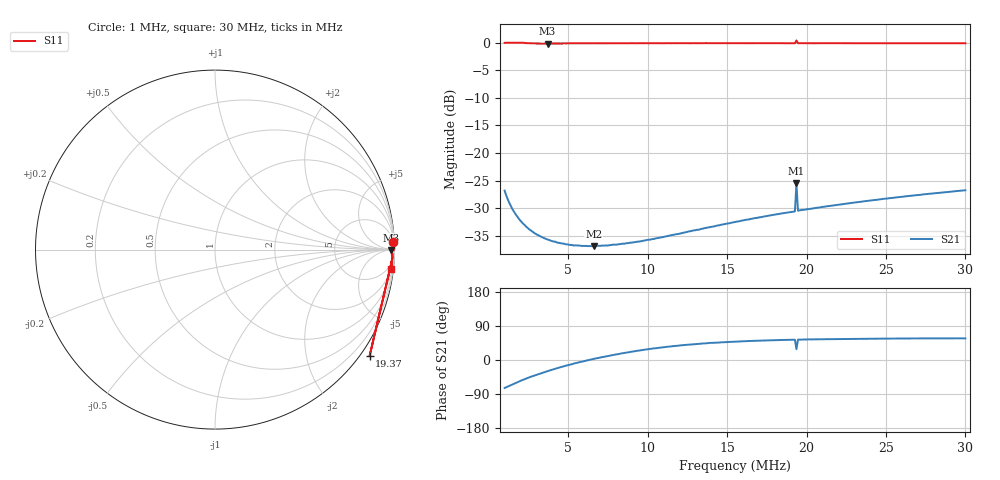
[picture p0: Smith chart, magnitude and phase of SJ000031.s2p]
!File created by NanoVNA-F V2
# Hz S RI R 50
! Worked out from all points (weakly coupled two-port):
!   301 points, 1 MHz to 30 MHz, reference 50 ohm
!   highest |S21| = -25.49 dB at 19.37 MHz (marker M1); lowest = -36.8 dB at 6.607 MHz (marker M2)
!   lowest |S11| = -0.2 dB at 3.707 MHz (marker M3), VSWR 93.32, Z = 4.42e+03 - j1.04e+03 ohm
!   |S11| at or under -10 dB: nowhere
!   S12 and S22 are empty: the file has one direction only
!   S11 on the Smith chart (normalised r, x): 1 MHz: 7, +48; 19.37 MHz: -0.25, -3.20; 30 MHz: 2, -18
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1000000  0.9936 0.0402  0.0128 -0.044  0 0  0 0
1193332  0.9964 0.0338  0.0131 -0.036  0 0  0 0
1483330  0.9975 0.0194  0.0135 -0.0282  0 0  0 0
1676662  0.9995 0.0118  0.0137 -0.0247  0 0  0 0
1966660  0.9999 0.00428  0.014 -0.0204  0 0  0 0
2353324  0.9891 -0.00493  0.0142 -0.0163  0 0  0 0
2836654  0.9842 -0.00855  0.0143 -0.0126  0 0  0 0
3223318  0.9794 -0.00567  0.0144 -0.0104  0 0  0 0
3706648  0.9788 -0.00495  0.0144 -0.00801  0 0  0 0
4286644  0.9809 -0.00632  0.0144 -0.00574  0 0  0 0
4866640  0.9821 -0.00851  0.0145 -0.00384  0 0  0 0
5833300  0.9846 -0.0125  0.0144 -0.00119  0 0  0 0
6606628  0.9871 -0.0159  0.0144 0.000725  0 0  0 0
8539948  0.9861 -0.0249  0.0143 0.00487  0 0  0 0
1.06666e7  0.9877 -0.0325  0.0145 0.00905  0 0  0 0
1.54999e7  0.9879 -0.0515  0.0158 0.0178  0 0  0 0
1.926987e7  0.9847 -0.0657  0.0176 0.0239  0 0  0 0
1.936654e7  0.8611 -0.5931  0.0468 0.0253  0 0  0 0
1.946321e7  0.9848 -0.066  0.0178 0.0243  0 0  0 0
2.03332e7  0.9841 -0.0703  0.0183 0.0256  0 0  0 0
2.51665e7  0.9836 -0.0875  0.0216 0.0325  0 0  0 0
2.99998e7  0.9805 -0.1062  0.0251 0.0387  0 0  0 0
